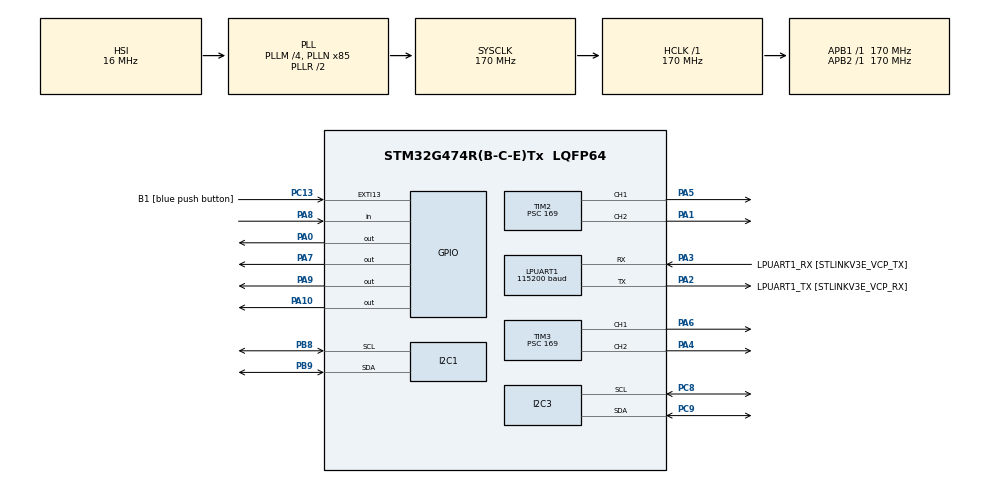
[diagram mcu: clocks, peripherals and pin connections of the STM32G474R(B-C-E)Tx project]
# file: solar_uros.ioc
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Dma.I2C1_RX.4.Direction=DMA_PERIPH_TO_MEMORY
Dma.I2C1_RX.4.EventEnable=DISABLE
Dma.I2C1_RX.4.Instance=DMA1_Channel5
Dma.I2C1_RX.4.MemDataAlignment=DMA_MDATAALIGN_BYTE
Dma.I2C1_RX.4.MemInc=DMA_MINC_ENABLE
Dma.I2C1_RX.4.Mode=DMA_NORMAL
Dma.I2C1_RX.4.PeriphDataAlignment=DMA_PDATAALIGN_BYTE
Dma.I2C1_RX.4.PeriphInc=DMA_PINC_DISABLE
Dma.I2C1_RX.4.Polarity=HAL_DMAMUX_REQ_GEN_RISING
Dma.I2C1_RX.4.Priority=DMA_PRIORITY_LOW
Dma.I2C1_RX.4.RequestNumber=1
Dma.I2C1_RX.4.SignalID=NONE
Dma.I2C1_RX.4.SyncEnable=DISABLE
Dma.I2C1_RX.4.SyncPolarity=HAL_DMAMUX_SYNC_NO_EVENT
Dma.I2C1_RX.4.SyncRequestNumber=1
Dma.I2C1_RX.4.SyncSignalID=NONE
Dma.I2C1_TX.5.Direction=DMA_MEMORY_TO_PERIPH
Dma.I2C1_TX.5.EventEnable=DISABLE
Dma.I2C1_TX.5.Instance=DMA1_Channel6
Dma.I2C1_TX.5.MemDataAlignment=DMA_MDATAALIGN_BYTE
Dma.I2C1_TX.5.MemInc=DMA_MINC_ENABLE
Dma.I2C1_TX.5.Mode=DMA_NORMAL
Dma.I2C1_TX.5.PeriphDataAlignment=DMA_PDATAALIGN_BYTE
Dma.I2C1_TX.5.PeriphInc=DMA_PINC_DISABLE
Dma.I2C1_TX.5.Polarity=HAL_DMAMUX_REQ_GEN_RISING
Dma.I2C1_TX.5.Priority=DMA_PRIORITY_LOW
Dma.I2C1_TX.5.RequestNumber=1
Dma.I2C1_TX.5.SignalID=NONE
Dma.I2C1_TX.5.SyncEnable=DISABLE
Dma.I2C1_TX.5.SyncPolarity=HAL_DMAMUX_SYNC_NO_EVENT
Dma.I2C1_TX.5.SyncRequestNumber=1
Dma.I2C1_TX.5.SyncSignalID=NONE
Dma.I2C3_RX.2.Direction=DMA_PERIPH_TO_MEMORY
Dma.I2C3_RX.2.EventEnable=DISABLE
Dma.I2C3_RX.2.Instance=DMA1_Channel3
Dma.I2C3_RX.2.MemDataAlignment=DMA_MDATAALIGN_BYTE
Dma.I2C3_RX.2.MemInc=DMA_MINC_ENABLE
Dma.I2C3_RX.2.Mode=DMA_NORMAL
Dma.I2C3_RX.2.PeriphDataAlignment=DMA_PDATAALIGN_BYTE
Dma.I2C3_RX.2.PeriphInc=DMA_PINC_DISABLE
Dma.I2C3_RX.2.Polarity=HAL_DMAMUX_REQ_GEN_RISING
Dma.I2C3_RX.2.Priority=DMA_PRIORITY_LOW
Dma.I2C3_RX.2.RequestNumber=1
Dma.I2C3_RX.2.SignalID=NONE
Dma.I2C3_RX.2.SyncEnable=DISABLE
Dma.I2C3_RX.2.SyncPolarity=HAL_DMAMUX_SYNC_NO_EVENT
Dma.I2C3_RX.2.SyncRequestNumber=1
Dma.I2C3_RX.2.SyncSignalID=NONE
Dma.I2C3_TX.3.Direction=DMA_MEMORY_TO_PERIPH
Dma.I2C3_TX.3.EventEnable=DISABLE
Dma.I2C3_TX.3.Instance=DMA1_Channel4
Dma.I2C3_TX.3.MemDataAlignment=DMA_MDATAALIGN_BYTE
Dma.I2C3_TX.3.MemInc=DMA_MINC_ENABLE
Dma.I2C3_TX.3.Mode=DMA_NORMAL
Dma.I2C3_TX.3.PeriphDataAlignment=DMA_PDATAALIGN_BYTE
Dma.I2C3_TX.3.PeriphInc=DMA_PINC_DISABLE
Dma.I2C3_TX.3.Polarity=HAL_DMAMUX_REQ_GEN_RISING
Dma.I2C3_TX.3.Priority=DMA_PRIORITY_LOW
Dma.I2C3_TX.3.RequestNumber=1
Dma.I2C3_TX.3.SignalID=NONE
Dma.I2C3_TX.3.SyncEnable=DISABLE
Dma.I2C3_TX.3.SyncPolarity=HAL_DMAMUX_SYNC_NO_EVENT
Dma.I2C3_TX.3.SyncRequestNumber=1
Dma.I2C3_TX.3.SyncSignalID=NONE
Dma.LPUART1_RX.1.Direction=DMA_PERIPH_TO_MEMORY
Dma.LPUART1_RX.1.EventEnable=DISABLE
Dma.LPUART1_RX.1.Instance=DMA1_Channel2
Dma.LPUART1_RX.1.MemDataAlignment=DMA_MDATAALIGN_BYTE
Dma.LPUART1_RX.1.MemInc=DMA_MINC_ENABLE
Dma.LPUART1_RX.1.Mode=DMA_CIRCULAR
Dma.LPUART1_RX.1.PeriphDataAlignment=DMA_PDATAALIGN_BYTE
Dma.LPUART1_RX.1.PeriphInc=DMA_PINC_DISABLE
Dma.LPUART1_RX.1.Polarity=HAL_DMAMUX_REQ_GEN_RISING
Dma.LPUART1_RX.1.Priority=DMA_PRIORITY_VERY_HIGH
Dma.LPUART1_RX.1.RequestNumber=1
Dma.LPUART1_RX.1.SignalID=NONE
Dma.LPUART1_RX.1.SyncEnable=DISABLE
Dma.LPUART1_RX.1.SyncPolarity=HAL_DMAMUX_SYNC_NO_EVENT
Dma.LPUART1_RX.1.SyncRequestNumber=1
Dma.LPUART1_RX.1.SyncSignalID=NONE
Dma.LPUART1_TX.0.Direction=DMA_MEMORY_TO_PERIPH
Dma.LPUART1_TX.0.EventEnable=DISABLE
Dma.LPUART1_TX.0.Instance=DMA1_Channel1
Dma.LPUART1_TX.0.MemDataAlignment=DMA_MDATAALIGN_BYTE
Dma.LPUART1_TX.0.MemInc=DMA_MINC_ENABLE
Dma.LPUART1_TX.0.Mode=DMA_NORMAL
Dma.LPUART1_TX.0.PeriphDataAlignment=DMA_PDATAALIGN_BYTE
Dma.LPUART1_TX.0.PeriphInc=DMA_PINC_DISABLE
Dma.LPUART1_TX.0.Polarity=HAL_DMAMUX_REQ_GEN_RISING
Dma.LPUART1_TX.0.Priority=DMA_PRIORITY_VERY_HIGH
Dma.LPUART1_TX.0.RequestNumber=1
Dma.LPUART1_TX.0.SignalID=NONE
Dma.LPUART1_TX.0.SyncEnable=DISABLE
Dma.LPUART1_TX.0.SyncPolarity=HAL_DMAMUX_SYNC_NO_EVENT
Dma.LPUART1_TX.0.SyncRequestNumber=1
Dma.LPUART1_TX.0.SyncSignalID=NONE
Dma.Request0=LPUART1_TX
Dma.Request1=LPUART1_RX
Dma.Request2=I2C3_RX
Dma.Request3=I2C3_TX
Dma.Request4=I2C1_RX
Dma.Request5=I2C1_TX
FREERTOS.Tasks01=defaultTask,24,3000,StartDefaultTask,Default,NULL,Static,defaultTaskBuffer,defaultTaskControlBlock
FREERTOS.configENABLE_FPU=1
I2C1.Timing=0x40B285C2
I2C3.Timing=0x40B285C2
LPUART1.BaudRate=115200
Mcu.Family=STM32G4
Mcu.Name=STM32G474R(B-C-E)Tx
Mcu.Package=LQFP64
NVIC.DMA1_Channel1_IRQn=true\:5\:0\:false\:false\:true\:true\:false\:true\:true
NVIC.DMA1_Channel2_IRQn=true\:5\:0\:false\:false\:true\:true\:false\:true\:true
NVIC.DMA1_Channel3_IRQn=true\:5\:0\:false\:false\:true\:true\:false\:true\:true
NVIC.DMA1_Channel4_IRQn=true\:5\:0\:false\:false\:true\:true\:false\:true\:true
NVIC.DMA1_Channel5_IRQn=true\:5\:0\:false\:false\:true\:true\:false\:true\:true
NVIC.DMA1_Channel6_IRQn=true\:5\:0\:false\:false\:true\:true\:false\:true\:true
NVIC.EXTI15_10_IRQn=true\:5\:0\:false\:false\:true\:true\:true\:true\:true
NVIC.I2C1_ER_IRQn=true\:5\:0\:false\:false\:true\:true\:true\:true\:true
NVIC.I2C1_EV_IRQn=true\:5\:0\:false\:false\:true\:true\:true\:true\:true
NVIC.I2C3_ER_IRQn=true\:5\:0\:false\:false\:true\:true\:true\:true\:true
NVIC.I2C3_EV_IRQn=true\:5\:0\:false\:false\:true\:true\:true\:true\:true
NVIC.LPUART1_IRQn=true\:5\:0\:false\:false\:true\:true\:true\:true\:true
NVIC.PriorityGroup=NVIC_PRIORITYGROUP_4
NVIC.TIM1_UP_TIM16_IRQn=true\:15\:0\:false\:false\:true\:false\:false\:true\:true
NVIC.TimeBase=TIM1_UP_TIM16_IRQn
NVIC.TimeBaseIP=TIM1
PA0.Signal=GPIO_Output
PA1.Signal=S_TIM2_CH2
PA10.Signal=GPIO_Output
PA13.GPIO_Label=T_SWDIO
PA13.Signal=SYS_JTMS-SWDIO
PA14.GPIO_Label=T_SWCLK
PA14.Signal=SYS_JTCK-SWCLK
PA2.GPIO_Label=LPUART1_TX [STLINKV3E_VCP_RX]
PA2.Mode=Asynchronous
PA2.Signal=LPUART1_TX
PA3.GPIO_Label=LPUART1_RX [STLINKV3E_VCP_TX]
PA3.Mode=Asynchronous
PA3.Signal=LPUART1_RX
PA4.Signal=S_TIM3_CH2
PA5.Signal=S_TIM2_CH1
PA6.Signal=S_TIM3_CH1
PA7.Signal=GPIO_Output
PA8.Signal=GPIO_Input
PA9.Signal=GPIO_Output
PB3.GPIO_Label=T_SWO
PB3.Signal=SYS_JTDO-SWO
PB8-BOOT0.Mode=I2C
PB8-BOOT0.Signal=I2C1_SCL
PB9.Mode=I2C
PB9.Signal=I2C1_SDA
PC13.GPIO_Label=B1 [blue push button]
PC13.Signal=GPXTI13
PC14-OSC32_IN.GPIO_Label=RCC_OSC32_IN
PC14-OSC32_IN.Signal=RCC_OSC32_IN
PC15-OSC32_OUT.GPIO_Label=RCC_OSC32_OUT
PC15-OSC32_OUT.Signal=RCC_OSC32_OUT
PC8.Mode=I2C
PC8.Signal=I2C3_SCL
PC9.Mode=I2C
PC9.Signal=I2C3_SDA
PF0-OSC_IN.GPIO_Label=RCC_OSC_IN
PF0-OSC_IN.Signal=RCC_OSC_IN
PF1-OSC_OUT.GPIO_Label=RCC_OSC_OUT
PF1-OSC_OUT.Signal=RCC_OSC_OUT
ProjectManager.HeapSize=0x200
ProjectManager.StackSize=0x400
ProjectManager.TargetToolchain=STM32CubeIDE
RCC.ADC12Freq_Value=170000000
RCC.ADC345Freq_Value=170000000
RCC.AHBFreq_Value=170000000
RCC.APB1Freq_Value=170000000
RCC.APB1TimFreq_Value=170000000
RCC.APB2Freq_Value=170000000
RCC.APB2TimFreq_Value=170000000
RCC.CortexFreq_Value=170000000
RCC.EXTERNAL_CLOCK_VALUE=12288000
RCC.HCLKFreq_Value=170000000
RCC.HSE_VALUE=24000000
RCC.HSI48_VALUE=48000000
RCC.HSI_VALUE=16000000
RCC.LSE_VALUE=32768
RCC.PLLM=RCC_PLLM_DIV4
RCC.PLLN=85
RCC.RTCClockSelection=RCC_RTCCLKSOURCE_LSE
RCC.SYSCLKFreq_VALUE=170000000
RCC.SYSCLKSource=RCC_SYSCLKSOURCE_PLLCLK
RCC.USBFreq_Value=170000000
RCC.VCOOutputFreq_Value=340000000
SH.S_TIM2_CH1.0=TIM2_CH1,PWM Generation1 CH1
SH.S_TIM2_CH2.0=TIM2_CH2,PWM Generation2 CH2
SH.S_TIM3_CH1.0=TIM3_CH1,PWM Generation1 CH1
SH.S_TIM3_CH2.0=TIM3_CH2,PWM Generation2 CH2
TIM2.Channel-PWM\ Generation1\ CH1=TIM_CHANNEL_1
TIM2.Channel-PWM\ Generation2\ CH2=TIM_CHANNEL_2
TIM2.PeriodNoDither=999
TIM2.Prescaler=169
TIM3.Channel-PWM\ Generation1\ CH1=TIM_CHANNEL_1
TIM3.Channel-PWM\ Generation2\ CH2=TIM_CHANNEL_2
TIM3.PeriodNoDither=999
TIM3.Prescaler=169
VP_FREERTOS_VS_CMSIS_V2.Mode=CMSIS_V2
VP_SYS_VS_DBSignals.Mode=DisableDeadBatterySignals
VP_SYS_VS_tim1.Mode=TIM1
VP_TIM2_VS_ClockSourceINT.Mode=Internal
VP_TIM3_VS_ClockSourceINT.Mode=Internal
board=NUCLEO-G474RE

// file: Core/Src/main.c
/* USER CODE BEGIN Header */
/**
  ******************************************************************************
  * @file           : main.c
  * @brief          : Main program body
  ******************************************************************************
  * @attention
  *
  * Copyright (c) 2025 STMicroelectronics.
  * All rights reserved.
  *
  * This software is licensed under terms that can be found in the LICENSE file
  * in the root directory of this software component.
  * If no LICENSE file comes with this software, it is provided AS-IS.
  *
  ******************************************************************************
  */
/* USER CODE END Header */
#include "main.h"
#include "cmsis_os.h"

/* USER CODE BEGIN Includes */
#include <rcl/rcl.h>
#include <rcl/error_handling.h>
#include <rclc/rclc.h>
#include <rclc/executor.h>
#include <uxr/client/transport.h>
#include <rmw_microxrcedds_c/config.h>
#include <rmw_microros/rmw_microros.h>

#include "PWM.h"
#include <std_msgs/msg/int32.h>
#include <std_msgs/msg/float32.h>
#include <stdlib.h>
/* USER CODE END Includes */

typedef StaticTask_t osStaticThreadDef_t;

/* USER CODE BEGIN PD */
#define EEPROM_ADDR 0x40
#define EEPROM_ADDR2 0x48
/* USER CODE END PD */

I2C_HandleTypeDef hi2c1;
I2C_HandleTypeDef hi2c3;
DMA_HandleTypeDef hdma_i2c1_rx;
DMA_HandleTypeDef hdma_i2c1_tx;
DMA_HandleTypeDef hdma_i2c3_rx;
DMA_HandleTypeDef hdma_i2c3_tx;

UART_HandleTypeDef hlpuart1;
DMA_HandleTypeDef hdma_lpuart1_tx;
DMA_HandleTypeDef hdma_lpuart1_rx;

TIM_HandleTypeDef htim2;
TIM_HandleTypeDef htim3;

/* Definitions for defaultTask */
osThreadId_t defaultTaskHandle;
uint32_t defaultTaskBuffer[ 3000 ];
osStaticThreadDef_t defaultTaskControlBlock;
const osThreadAttr_t defaultTask_attributes = {
  .name = "defaultTask",
  .stack_mem = &defaultTaskBuffer[0],
  .stack_size = sizeof(defaultTaskBuffer),
  .cb_mem = &defaultTaskControlBlock,
  .cb_size = sizeof(defaultTaskControlBlock),
  .priority = (osPriority_t) osPriorityNormal,
};
/* USER CODE BEGIN PV */
rcl_subscription_t subscriber_servo;
std_msgs__msg__Int32 msg_servo;

rcl_subscription_t subscriber_Brush;
std_msgs__msg__Int32 msg_Brush;

rcl_subscription_t subscriber_Water;
std_msgs__msg__Int32 msg_Water;

rcl_subscription_t subscriber_encoder1;
std_msgs__msg__Int32 msg_encoder1;

rcl_subscription_t subscriber_encoder2;
std_msgs__msg__Int32 msg_encoder2;

rcl_publisher_t publisher;
std_msgs__msg__Int32 msg_pub;

rcl_publisher_t omron_publisher;
std_msgs__msg__Int32 msg_Omron;

rcl_publisher_t encoder1_publisher;
//std_msgs__msg__Int32 msg_encoder1;

rcl_publisher_t encoder2_publisher;
//std_msgs__msg__Int32 msg_encoder2;

rcl_timer_t timer;
rclc_support_t support;
rcl_allocator_t allocator;
rcl_node_t node;
rcl_init_options_t init_options;
rclc_executor_t executor;

int Brush;
int Water;
int Servo_switch = 0;
int BrushUD_mode = 0;
int prev_Servo = 0;
uint64_t a = 0;

PWM WaterPump;
PWM BrushMTR;
PWM BrushUD;
PWM BrushUD2;
int Omron;

static uint32_t timestamp_servo  = 0;
static uint32_t timestamp_servo2  = 0;
static uint32_t timestamp_servo3  = 0;
static uint32_t timestamp_servo4  = 0;
static uint32_t timestamp_omron  = 0;

static uint64_t timestamp = 0;
uint8_t eepromExampleWriteFlag = 0;
uint8_t eepromExampleReadFlag = 0;
uint8_t eepromDataReadBack[2];
char check[17] = {};
uint64_t encoder = 0;

uint8_t eepromExampleWriteFlag2 = 0;
uint8_t eepromExampleReadFlag2 = 0;
uint8_t eepromDataReadBack2[2];
char check2[17] = {};
uint64_t encoder2 = 0;

uint64_t encoder1_order = 0;
uint64_t encoder2_order = 0;

/* USER CODE END PV */

void SystemClock_Config(void);
static void MX_GPIO_Init(void);
static void MX_DMA_Init(void);
static void MX_LPUART1_UART_Init(void);
static void MX_TIM2_Init(void);
static void MX_TIM3_Init(void);
static void MX_I2C1_Init(void);
static void MX_I2C3_Init(void);
void StartDefaultTask(void *argument);

/* USER CODE BEGIN PFP */
void BrusheMotorControlled();
void WaterPumpControlled();
void BrushUpDownMode_manual();
void BrushUpDownMode_auto();
void Omron_check();
void encoder_check();

void timer_callback(rcl_timer_t * timer, int64_t last_call_time);
void subscription_callback_servo(const void * msgin);
void subscription_callback_Brush(const void * msgin);
void subscription_callback_Water(const void * msgin);
/* USER CODE END PFP */

int main(void)
{

  /* MCU Configuration--------------------------------------------------------*/

  /* Reset of all peripherals, Initializes the Flash interface and the Systick. */
  HAL_Init();

  /* Configure the system clock */
  SystemClock_Config();

  /* Initialize all configured peripherals */
  MX_GPIO_Init();
  MX_DMA_Init();
  MX_LPUART1_UART_Init();
  MX_TIM2_Init();
  MX_TIM3_Init();
  MX_I2C1_Init();
  MX_I2C3_Init();
  /* USER CODE BEGIN 2 */
  PWM_init(&BrushMTR, &htim2, TIM_CHANNEL_1);
  PWM_init(&WaterPump, &htim2, TIM_CHANNEL_2);
  PWM_init(&BrushUD2, &htim3, TIM_CHANNEL_1);
  PWM_init(&BrushUD, &htim3, TIM_CHANNEL_2);

  HAL_TIM_PWM_Start(&htim2, TIM_CHANNEL_1);
  HAL_TIM_PWM_Start(&htim2, TIM_CHANNEL_2);
  HAL_TIM_PWM_Start(&htim3, TIM_CHANNEL_1);
  HAL_TIM_PWM_Start(&htim3, TIM_CHANNEL_2);
  /* USER CODE END 2 */

  /* Init scheduler */
  osKernelInitialize();

  /* Create the thread(s) */
  /* creation of defaultTask */
  defaultTaskHandle = osThreadNew(StartDefaultTask, NULL, &defaultTask_attributes);

  /* Start scheduler */
  osKernelStart();

  /* We should never get here as control is now taken by the scheduler */

  /* Infinite loop */
  while (1)
  {

  }
}

void SystemClock_Config(void)
{
  RCC_OscInitTypeDef RCC_OscInitStruct = {0};
  RCC_ClkInitTypeDef RCC_ClkInitStruct = {0};

  /** Configure the main internal regulator output voltage
  */
  HAL_PWREx_ControlVoltageScaling(PWR_REGULATOR_VOLTAGE_SCALE1_BOOST);

  /** Initializes the RCC Oscillators according to the specified parameters
  * in the RCC_OscInitTypeDef structure.
  */
  RCC_OscInitStruct.OscillatorType = RCC_OSCILLATORTYPE_HSI;
  RCC_OscInitStruct.HSIState = RCC_HSI_ON;
  RCC_OscInitStruct.HSICalibrationValue = RCC_HSICALIBRATION_DEFAULT;
  RCC_OscInitStruct.PLL.PLLState = RCC_PLL_ON;
  RCC_OscInitStruct.PLL.PLLSource = RCC_PLLSOURCE_HSI;
  RCC_OscInitStruct.PLL.PLLM = RCC_PLLM_DIV4;
  RCC_OscInitStruct.PLL.PLLN = 85;
  RCC_OscInitStruct.PLL.PLLP = RCC_PLLP_DIV2;
  RCC_OscInitStruct.PLL.PLLQ = RCC_PLLQ_DIV2;
  RCC_OscInitStruct.PLL.PLLR = RCC_PLLR_DIV2;
  if (HAL_RCC_OscConfig(&RCC_OscInitStruct) != HAL_OK)
  {
    Error_Handler();
  }

  /** Initializes the CPU, AHB and APB buses clocks
  */
  RCC_ClkInitStruct.ClockType = RCC_CLOCKTYPE_HCLK|RCC_CLOCKTYPE_SYSCLK
                              |RCC_CLOCKTYPE_PCLK1|RCC_CLOCKTYPE_PCLK2;
  RCC_ClkInitStruct.SYSCLKSource = RCC_SYSCLKSOURCE_PLLCLK;
  RCC_ClkInitStruct.AHBCLKDivider = RCC_SYSCLK_DIV1;
  RCC_ClkInitStruct.APB1CLKDivider = RCC_HCLK_DIV1;
  RCC_ClkInitStruct.APB2CLKDivider = RCC_HCLK_DIV1;

  if (HAL_RCC_ClockConfig(&RCC_ClkInitStruct, FLASH_LATENCY_4) != HAL_OK)
  {
    Error_Handler();
  }
}

static void MX_I2C1_Init(void)
{

  hi2c1.Instance = I2C1;
  hi2c1.Init.Timing = 0x40B285C2;
  hi2c1.Init.OwnAddress1 = 0;
  hi2c1.Init.AddressingMode = I2C_ADDRESSINGMODE_7BIT;
  hi2c1.Init.DualAddressMode = I2C_DUALADDRESS_DISABLE;
  hi2c1.Init.OwnAddress2 = 0;
  hi2c1.Init.OwnAddress2Masks = I2C_OA2_NOMASK;
  hi2c1.Init.GeneralCallMode = I2C_GENERALCALL_DISABLE;
  hi2c1.Init.NoStretchMode = I2C_NOSTRETCH_DISABLE;
  if (HAL_I2C_Init(&hi2c1) != HAL_OK)
  {
    Error_Handler();
  }

  /** Configure Analogue filter
  */
  if (HAL_I2CEx_ConfigAnalogFilter(&hi2c1, I2C_ANALOGFILTER_ENABLE) != HAL_OK)
  {
    Error_Handler();
  }

  /** Configure Digital filter
  */
  if (HAL_I2CEx_ConfigDigitalFilter(&hi2c1, 0) != HAL_OK)
  {
    Error_Handler();
  }

}

static void MX_I2C3_Init(void)
{

  hi2c3.Instance = I2C3;
  hi2c3.Init.Timing = 0x40B285C2;
  hi2c3.Init.OwnAddress1 = 0;
  hi2c3.Init.AddressingMode = I2C_ADDRESSINGMODE_7BIT;
  hi2c3.Init.DualAddressMode = I2C_DUALADDRESS_DISABLE;
  hi2c3.Init.OwnAddress2 = 0;
  hi2c3.Init.OwnAddress2Masks = I2C_OA2_NOMASK;
  hi2c3.Init.GeneralCallMode = I2C_GENERALCALL_DISABLE;
  hi2c3.Init.NoStretchMode = I2C_NOSTRETCH_DISABLE;
  if (HAL_I2C_Init(&hi2c3) != HAL_OK)
  {
    Error_Handler();
  }

  /** Configure Analogue filter
  */
  if (HAL_I2CEx_ConfigAnalogFilter(&hi2c3, I2C_ANALOGFILTER_ENABLE) != HAL_OK)
  {
    Error_Handler();
  }

  /** Configure Digital filter
  */
  if (HAL_I2CEx_ConfigDigitalFilter(&hi2c3, 0) != HAL_OK)
  {
    Error_Handler();
  }

}

static void MX_LPUART1_UART_Init(void)
{

  hlpuart1.Instance = LPUART1;
  hlpuart1.Init.BaudRate = 115200;
  hlpuart1.Init.WordLength = UART_WORDLENGTH_8B;
  hlpuart1.Init.StopBits = UART_STOPBITS_1;
  hlpuart1.Init.Parity = UART_PARITY_NONE;
  hlpuart1.Init.Mode = UART_MODE_TX_RX;
  hlpuart1.Init.HwFlowCtl = UART_HWCONTROL_NONE;
  hlpuart1.Init.OneBitSampling = UART_ONE_BIT_SAMPLE_DISABLE;
  hlpuart1.Init.ClockPrescaler = UART_PRESCALER_DIV1;
  hlpuart1.AdvancedInit.AdvFeatureInit = UART_ADVFEATURE_NO_INIT;
  if (HAL_UART_Init(&hlpuart1) != HAL_OK)
  {
    Error_Handler();
  }
  if (HAL_UARTEx_SetTxFifoThreshold(&hlpuart1, UART_TXFIFO_THRESHOLD_1_8) != HAL_OK)
  {
    Error_Handler();
  }
  if (HAL_UARTEx_SetRxFifoThreshold(&hlpuart1, UART_RXFIFO_THRESHOLD_1_8) != HAL_OK)
  {
    Error_Handler();
  }
  if (HAL_UARTEx_DisableFifoMode(&hlpuart1) != HAL_OK)
  {
    Error_Handler();
  }

}

static void MX_TIM2_Init(void)
{

  TIM_ClockConfigTypeDef sClockSourceConfig = {0};
  TIM_MasterConfigTypeDef sMasterConfig = {0};
  TIM_OC_InitTypeDef sConfigOC = {0};

  htim2.Instance = TIM2;
  htim2.Init.Prescaler = 169;
  htim2.Init.CounterMode = TIM_COUNTERMODE_UP;
  htim2.Init.Period = 999;
  htim2.Init.ClockDivision = TIM_CLOCKDIVISION_DIV1;
  htim2.Init.AutoReloadPreload = TIM_AUTORELOAD_PRELOAD_DISABLE;
  if (HAL_TIM_Base_Init(&htim2) != HAL_OK)
  {
    Error_Handler();
  }
  sClockSourceConfig.ClockSource = TIM_CLOCKSOURCE_INTERNAL;
  if (HAL_TIM_ConfigClockSource(&htim2, &sClockSourceConfig) != HAL_OK)
  {
    Error_Handler();
  }
  if (HAL_TIM_PWM_Init(&htim2) != HAL_OK)
  {
    Error_Handler();
  }
  sMasterConfig.MasterOutputTrigger = TIM_TRGO_RESET;
  sMasterConfig.MasterSlaveMode = TIM_MASTERSLAVEMODE_DISABLE;
  if (HAL_TIMEx_MasterConfigSynchronization(&htim2, &sMasterConfig) != HAL_OK)
  {
    Error_Handler();
  }
  sConfigOC.OCMode = TIM_OCMODE_PWM1;
  sConfigOC.Pulse = 0;
  sConfigOC.OCPolarity = TIM_OCPOLARITY_HIGH;
  sConfigOC.OCFastMode = TIM_OCFAST_DISABLE;
  if (HAL_TIM_PWM_ConfigChannel(&htim2, &sConfigOC, TIM_CHANNEL_1) != HAL_OK)
  {
    Error_Handler();
  }
  if (HAL_TIM_PWM_ConfigChannel(&htim2, &sConfigOC, TIM_CHANNEL_2) != HAL_OK)
  {
    Error_Handler();
  }
  HAL_TIM_MspPostInit(&htim2);

}

static void MX_TIM3_Init(void)
{

  TIM_ClockConfigTypeDef sClockSourceConfig = {0};
  TIM_MasterConfigTypeDef sMasterConfig = {0};
  TIM_OC_InitTypeDef sConfigOC = {0};

  htim3.Instance = TIM3;
  htim3.Init.Prescaler = 169;
  htim3.Init.CounterMode = TIM_COUNTERMODE_UP;
  htim3.Init.Period = 999;
  htim3.Init.ClockDivision = TIM_CLOCKDIVISION_DIV1;
  htim3.Init.AutoReloadPreload = TIM_AUTORELOAD_PRELOAD_DISABLE;
  if (HAL_TIM_Base_Init(&htim3) != HAL_OK)
  {
    Error_Handler();
  }
  sClockSourceConfig.ClockSource = TIM_CLOCKSOURCE_INTERNAL;
  if (HAL_TIM_ConfigClockSource(&htim3, &sClockSourceConfig) != HAL_OK)
  {
    Error_Handler();
  }
  if (HAL_TIM_PWM_Init(&htim3) != HAL_OK)
  {
    Error_Handler();
  }
  sMasterConfig.MasterOutputTrigger = TIM_TRGO_RESET;
  sMasterConfig.MasterSlaveMode = TIM_MASTERSLAVEMODE_DISABLE;
  if (HAL_TIMEx_MasterConfigSynchronization(&htim3, &sMasterConfig) != HAL_OK)
  {
    Error_Handler();
  }
  sConfigOC.OCMode = TIM_OCMODE_PWM1;
  sConfigOC.Pulse = 0;
  sConfigOC.OCPolarity = TIM_OCPOLARITY_HIGH;
  sConfigOC.OCFastMode = TIM_OCFAST_DISABLE;
  if (HAL_TIM_PWM_ConfigChannel(&htim3, &sConfigOC, TIM_CHANNEL_1) != HAL_OK)
  {
    Error_Handler();
  }
  if (HAL_TIM_PWM_ConfigChannel(&htim3, &sConfigOC, TIM_CHANNEL_2) != HAL_OK)
  {
    Error_Handler();
  }
  HAL_TIM_MspPostInit(&htim3);

}

static void MX_DMA_Init(void)
{

  /* DMA controller clock enable */
  __HAL_RCC_DMAMUX1_CLK_ENABLE();
  __HAL_RCC_DMA1_CLK_ENABLE();

  /* DMA interrupt init */
  /* DMA1_Channel1_IRQn interrupt configuration */
  HAL_NVIC_SetPriority(DMA1_Channel1_IRQn, 5, 0);
  HAL_NVIC_EnableIRQ(DMA1_Channel1_IRQn);
  /* DMA1_Channel2_IRQn interrupt configuration */
  HAL_NVIC_SetPriority(DMA1_Channel2_IRQn, 5, 0);
  HAL_NVIC_EnableIRQ(DMA1_Channel2_IRQn);
  /* DMA1_Channel3_IRQn interrupt configuration */
  HAL_NVIC_SetPriority(DMA1_Channel3_IRQn, 5, 0);
  HAL_NVIC_EnableIRQ(DMA1_Channel3_IRQn);
  /* DMA1_Channel4_IRQn interrupt configuration */
  HAL_NVIC_SetPriority(DMA1_Channel4_IRQn, 5, 0);
  HAL_NVIC_EnableIRQ(DMA1_Channel4_IRQn);
  /* DMA1_Channel5_IRQn interrupt configuration */
  HAL_NVIC_SetPriority(DMA1_Channel5_IRQn, 5, 0);
  HAL_NVIC_EnableIRQ(DMA1_Channel5_IRQn);
  /* DMA1_Channel6_IRQn interrupt configuration */
  HAL_NVIC_SetPriority(DMA1_Channel6_IRQn, 5, 0);
  HAL_NVIC_EnableIRQ(DMA1_Channel6_IRQn);

}

static void MX_GPIO_Init(void)
{
  GPIO_InitTypeDef GPIO_InitStruct = {0};

  /* GPIO Ports Clock Enable */
  __HAL_RCC_GPIOC_CLK_ENABLE();
  __HAL_RCC_GPIOF_CLK_ENABLE();
  __HAL_RCC_GPIOA_CLK_ENABLE();
  __HAL_RCC_GPIOB_CLK_ENABLE();

  /*Configure GPIO pin Output Level */
  HAL_GPIO_WritePin(GPIOA, GPIO_PIN_0|GPIO_PIN_7|GPIO_PIN_9|GPIO_PIN_10, GPIO_PIN_RESET);

  /*Configure GPIO pin : B1_Pin */
  GPIO_InitStruct.Pin = B1_Pin;
  GPIO_InitStruct.Mode = GPIO_MODE_IT_RISING;
  GPIO_InitStruct.Pull = GPIO_NOPULL;
  HAL_GPIO_Init(B1_GPIO_Port, &GPIO_InitStruct);

  /*Configure GPIO pins : PA0 PA7 PA9 PA10 */
  GPIO_InitStruct.Pin = GPIO_PIN_0|GPIO_PIN_7|GPIO_PIN_9|GPIO_PIN_10;
  GPIO_InitStruct.Mode = GPIO_MODE_OUTPUT_PP;
  GPIO_InitStruct.Pull = GPIO_NOPULL;
  GPIO_InitStruct.Speed = GPIO_SPEED_FREQ_LOW;
  HAL_GPIO_Init(GPIOA, &GPIO_InitStruct);

  /*Configure GPIO pin : PA8 */
  GPIO_InitStruct.Pin = GPIO_PIN_8;
  GPIO_InitStruct.Mode = GPIO_MODE_INPUT;
  GPIO_InitStruct.Pull = GPIO_NOPULL;
  HAL_GPIO_Init(GPIOA, &GPIO_InitStruct);

  /* EXTI interrupt init*/
  HAL_NVIC_SetPriority(EXTI15_10_IRQn, 5, 0);
  HAL_NVIC_EnableIRQ(EXTI15_10_IRQn);

}

/* USER CODE BEGIN 4 */
bool cubemx_transport_open(struct uxrCustomTransport * transport);
bool cubemx_transport_close(struct uxrCustomTransport * transport);
size_t cubemx_transport_write(struct uxrCustomTransport* transport, const uint8_t * buf, size_t len, uint8_t * err);
size_t cubemx_transport_read(struct uxrCustomTransport* transport, uint8_t* buf, size_t len, int timeout, uint8_t* err);

void * microros_allocate(size_t size, void * state);
void microros_deallocate(void * pointer, void * state);
void * microros_reallocate(void * pointer, size_t size, void * state);
void * microros_zero_allocate(size_t number_of_elements, size_t size_of_element, void * state);

void timer_callback(rcl_timer_t * timer, int64_t last_call_time)
{
	if (timer != NULL) {
		BrusheMotorControlled();
		BrushUpDownMode_manual();
		BrushUpDownMode_auto();
		Omron_check();
		WaterPumpControlled();

		eepromExampleReadFlag = 1;
		eepromExampleReadFlag2 = 1;
	  EEPROMReadExample(eepromDataReadBack);
	  EEPROMReadExample2(eepromDataReadBack2);
		timestamp = HAL_GetTick();
	  for (int i = 0; i < 16; i++) {
		  // Select byte: 0 for i=0..7, 1 for i=8..15
		  uint8_t byteIndex = i / 8;
		  uint8_t bitIndex = 7 - (i % 8);  // MSB first

		  check[i] = ((eepromDataReadBack[byteIndex] >> bitIndex) & 0x01) ? '1' : '0';
		  check2[i] = ((eepromDataReadBack2[byteIndex] >> bitIndex) & 0x01) ? '1' : '0';
	  }
	  check[16] = '\0';  // Null-terminate
	  check2[16] = '\0';
	  encoder = ((check[11] - 48) * 1000 ) + ((check[12] - 48) * 800 ) + ((check[13] - 48) * 400 )
		+ ((check[14] - 48) * 200 ) + ((check[15] - 48) * 100 ) + ((check[0] - 48) * 80 ) +
		((check[1] - 48) * 40 ) + ((check[2] - 48) * 20 ) + ((check[3] - 48) * 10 ) +
		((check[4] - 48) * 8 ) + ((check[5] - 48) * 4 ) + ((check[6] - 48) * 2 )
	 + ((check[7] - 48) * 1 ) ;
	  encoder2 = ((check2[11] - 48) * 1000 ) + ((check2[12] - 48) * 800 ) + ((check2[13] - 48) * 400 )
				+ ((check2[14] - 48) * 200 ) + ((check2[15] - 48) * 100 ) + ((check2[0] - 48) * 80 ) +
				((check2[1] - 48) * 40 ) + ((check2[2] - 48) * 20 ) + ((check2[3] - 48) * 10 ) +
				((check2[4] - 48) * 8 ) + ((check2[5] - 48) * 4 ) + ((check2[6] - 48) * 2 )
			 + ((check2[7] - 48) * 1 ) ;

	  //		((check[11] - 48) * 1000 )
	  //		((check[12] - 48) * 800 )
	  //		((check[13] - 48) * 400 )
	  //		((check[14] - 48) * 200 )
	  //		((check[15] - 48) * 100 )
	  //		((check[0] - 48) * 80 )
	  //      ((check[1] - 48) * 40 )
	  //		((check[2] - 48) * 20 )
	  //		((check[3] - 48) * 10 )
	  //	    ((check[4] - 48) * 8 )
	  //	    ((check[5] - 48) * 4 )
	  //	    ((check[6] - 48) * 2 )
	  //	    ((check[7] - 48) * 1 )

	  encoder_check();

	}
	rcl_ret_t ret = rcl_publish(&publisher, &msg_pub, NULL);
	if (ret != RCL_RET_OK)
	{
		NVIC_SystemReset();
	}
}
void BrushUpDownMode_auto()
{
	if (encoder - encoder1_order > 0) // threshold implement
		{
			if (HAL_GetTick() < timestamp_servo + 200)
			{
				HAL_GPIO_WritePin(GPIOA, GPIO_PIN_10, 1); // 1 == up , -1 == down
				PWM_write_duty(&BrushUD, 998, 50);
				HAL_GPIO_WritePin(GPIOA, GPIO_PIN_7, 0);
				PWM_write_duty(&BrushUD2, 998, 50);

			}
			else{

				timestamp_servo = HAL_GetTick();
			}
		}
		else if (encoder - encoder1_order < 0)
		{
	//		static uint32_t timestamp_servo2  = 0;

			if (HAL_GetTick() < timestamp_servo2 + 200)
			{
				HAL_GPIO_WritePin(GPIOA, GPIO_PIN_10, 0);
				PWM_write_duty(&BrushUD, 998, 50);
				HAL_GPIO_WritePin(GPIOA, GPIO_PIN_7, 1);
				PWM_write_duty(&BrushUD2, 998, 50);

			}
			else{

				timestamp_servo2 = HAL_GetTick();
			}
		}
		else if (encoder2 - encoder2_order > 0)
		{
			if (HAL_GetTick() < timestamp_servo + 200)
			{
				HAL_GPIO_WritePin(GPIOA, GPIO_PIN_10, 1); // 1 == up , -1 == down
				PWM_write_duty(&BrushUD, 998, 50);
			}
			else{
				timestamp_servo = HAL_GetTick();
			}
		}
		else if (encoder2 - encoder2_order < 0)
		{
	//		static uint32_t timestamp_servo2  = 0;

			if (HAL_GetTick() < timestamp_servo2 + 200)
			{
				HAL_GPIO_WritePin(GPIOA, GPIO_PIN_10, 0);
				PWM_write_duty(&BrushUD, 998, 50);
			}
			else{

				timestamp_servo2 = HAL_GetTick();
			}
		}
		else{
			timestamp_servo = HAL_GetTick();
			timestamp_servo2 = HAL_GetTick();
			timestamp_servo3 = HAL_GetTick();
			timestamp_servo4 = HAL_GetTick();
			PWM_write_duty(&BrushUD2, 998, 0);
			PWM_write_duty(&BrushUD, 998, 0);
		}

}
void BrusheMotorControlled()
{
	if (Brush)
	{
		HAL_GPIO_WritePin(GPIOA, GPIO_PIN_9, RESET);
		PWM_write_duty(&BrushMTR, 2000, 100);
	}
	else
	{
		PWM_write_duty(&BrushMTR, 2000, 0);
	}
}
void WaterPumpControlled()
{
	if (Water)
	{
		HAL_GPIO_WritePin(GPIOA, GPIO_PIN_0, RESET);
		PWM_write_duty(&WaterPump, 2000, 100);
	}
	else
	{
		PWM_write_duty(&WaterPump, 2000, 0);
	}
}
void BrushUpDownMode_manual()
{
	// PA10 DIR1 , PA4 PWM1
	// PA7 DIR2 ,PA6 PWM2

	if (Servo_switch == 1)
	{
		if (HAL_GetTick() < timestamp_servo + 200)
		{
			HAL_GPIO_WritePin(GPIOA, GPIO_PIN_10, 1); // 1 == up , -1 == down
			PWM_write_duty(&BrushUD, 998, 50);
			HAL_GPIO_WritePin(GPIOA, GPIO_PIN_7, 0);
			PWM_write_duty(&BrushUD2, 998, 50);

		}
		else{
			Servo_switch = 0;
			timestamp_servo = HAL_GetTick();
		}
	}
	else if (Servo_switch == -1)
	{
//		static uint32_t timestamp_servo2  = 0;

		if (HAL_GetTick() < timestamp_servo2 + 200)
		{
			HAL_GPIO_WritePin(GPIOA, GPIO_PIN_10, 0);
			PWM_write_duty(&BrushUD, 998, 50);
			HAL_GPIO_WritePin(GPIOA, GPIO_PIN_7, 1);
			PWM_write_duty(&BrushUD2, 998, 50);

		}
		else{
			Servo_switch = 0;
			timestamp_servo2 = HAL_GetTick();
		}
	}
	else if (Servo_switch == 2)
	{
		if (HAL_GetTick() < timestamp_servo + 200)
		{
			HAL_GPIO_WritePin(GPIOA, GPIO_PIN_10, 1); // 1 == up , -1 == down
			PWM_write_duty(&BrushUD, 998, 50);
		}
		else{
			Servo_switch = 0;
			timestamp_servo = HAL_GetTick();
		}
	}
	else if (Servo_switch == -2)
	{
//		static uint32_t timestamp_servo2  = 0;

		if (HAL_GetTick() < timestamp_servo2 + 200)
		{
			HAL_GPIO_WritePin(GPIOA, GPIO_PIN_10, 0);
			PWM_write_duty(&BrushUD, 998, 50);
		}
		else{
			Servo_switch = 0;
			timestamp_servo2 = HAL_GetTick();
		}
	}
	else if (Servo_switch == 3)
	{
		if (HAL_GetTick() < timestamp_servo + 200)
		{
			HAL_GPIO_WritePin(GPIOA, GPIO_PIN_7, 0); // 1 == up , -1 == down
			PWM_write_duty(&BrushUD2, 998, 50);
		}
		else{
			Servo_switch = 0;
			timestamp_servo = HAL_GetTick();
		}
	}
	else if (Servo_switch == -3)
	{
//		static uint32_t timestamp_servo2  = 0;

		if (HAL_GetTick() < timestamp_servo2 + 200)
		{
			HAL_GPIO_WritePin(GPIOA, GPIO_PIN_7, 1);
			PWM_write_duty(&BrushUD2, 998, 50);
		}
		else{
			Servo_switch = 0;
			timestamp_servo2 = HAL_GetTick();
		}
	}
	else{
		timestamp_servo = HAL_GetTick();
		timestamp_servo2 = HAL_GetTick();
		timestamp_servo3 = HAL_GetTick();
		timestamp_servo4 = HAL_GetTick();
		PWM_write_duty(&BrushUD2, 998, 0);
		PWM_write_duty(&BrushUD, 998, 0);
	}

}

void Omron_check()
{
	if (HAL_GPIO_ReadPin(GPIOA, GPIO_PIN_8) == 1)
	{
		if (HAL_GetTick() > timestamp_omron + 2000){
			std_msgs__msg__Int32 msg;

			// Set message value
			msg.data = 1;
			Omron = 1;
			// Publish message
			rcl_publish(&omron_publisher, &msg, NULL);
			timestamp_omron = HAL_GetTick();
		}
	}
	else
	{
		timestamp_omron  = HAL_GetTick();
		std_msgs__msg__Int32 msg;

		// Set message value
		msg.data = 0;
		Omron = 0;
		// Publish message
		rcl_publish(&omron_publisher, &msg, NULL);
	}
}

void encoder_check()
{
			std_msgs__msg__Int32 msg1;
			std_msgs__msg__Int32 msg2;

			// Set message value
			msg1.data = encoder;
			msg2.data = encoder2;
			// Publish message
			rcl_publish(&encoder1_publisher, &msg1, NULL);
			rcl_publish(&encoder2_publisher, &msg2, NULL);
}

void subscription_callback_servo(const void * msgin)
{
	const std_msgs__msg__Int32 * msg = (const std_msgs__msg__Int32 *)msgin;
	Servo_switch = msg->data;
	// 0 = do nothing
	// 1 and -1 , 1 == 1 up , -1 == 1 down
	// 2 and -2
}

void subscription_callback_Brush(const void * msgin)
{
	const std_msgs__msg__Int32 * msg = (const std_msgs__msg__Int32 *)msgin;
	Brush = msg->data;
}

void subscription_callback_Water(const void * msgin)
{
	const std_msgs__msg__Int32 * msg = (const std_msgs__msg__Int32 *)msgin;
	Water = msg->data;
}
void subscription_callback_encoder1(const void * msgin)
{
	const std_msgs__msg__Int32 * msg = (const std_msgs__msg__Int32 *)msgin;
	encoder1_order = msg->data;
}

void subscription_callback_encoder2(const void * msgin)
{
	const std_msgs__msg__Int32 * msg = (const std_msgs__msg__Int32 *)msgin;
	encoder2_order = msg->data;
}

void EEPROMReadExample(uint8_t *Rdata) {
	if (eepromExampleReadFlag && hi2c1.State == HAL_I2C_STATE_READY) {
//		HAL_I2C_Mem_Read_IT(&hi2c1, 0x40, 0x12, I2C_MEMADD_SIZE_8BIT, Rdata, 2);
		HAL_I2C_Mem_Read_IT(&hi2c1, EEPROM_ADDR, 0x12, I2C_MEMADD_SIZE_8BIT, Rdata, 2);
//		HAL_I2C_Mem_Read_IT(&hi2c1, EEPROM_ADDR, 0x12, I2C_MEMADD_SIZE_16BIT, Rdata, 2);
		eepromExampleReadFlag = 0;

	}
}
void EEPROMReadExample2(uint8_t *Rdata) {
	if (eepromExampleReadFlag2 && hi2c3.State == HAL_I2C_STATE_READY) {
//		HAL_I2C_Mem_Read_IT(&hi2c1, 0x40, 0x12, I2C_MEMADD_SIZE_8BIT, Rdata, 2);
		HAL_I2C_Mem_Read_IT(&hi2c3, EEPROM_ADDR2, 0x12, I2C_MEMADD_SIZE_8BIT, Rdata, 2);
//		HAL_I2C_Mem_Read_IT(&hi2c1, EEPROM_ADDR, 0x12, I2C_MEMADD_SIZE_16BIT, Rdata, 2);
		eepromExampleReadFlag2 = 0;

	}
}
/* USER CODE END 4 */

void StartDefaultTask(void *argument)
{
  /* USER CODE BEGIN 5 */
		rmw_uros_set_custom_transport(
		true,
		(void *) &hlpuart1,
		cubemx_transport_open,
		cubemx_transport_close,
		cubemx_transport_write,
		cubemx_transport_read);

		rcl_allocator_t freeRTOS_allocator = rcutils_get_zero_initialized_allocator();
		freeRTOS_allocator.allocate = microros_allocate;
		freeRTOS_allocator.deallocate = microros_deallocate;
		freeRTOS_allocator.reallocate = microros_reallocate;
		freeRTOS_allocator.zero_allocate = microros_zero_allocate;

		if (!rcutils_set_default_allocator(&freeRTOS_allocator)) {
		  printf("Error on default allocators (line %d)\n", __LINE__);
		}

		// micro-ROS app
		allocator = rcl_get_default_allocator();

		init_options = rcl_get_zero_initialized_init_options();
		rcl_init_options_init(&init_options, allocator);
		rcl_init_options_set_domain_id(&init_options, 1);

		// Initialize rclc support object with custom options
		rclc_support_init_with_options(&support, 0, NULL, &init_options, &allocator);

		// Create node
		rclc_node_init_default(&node, "cubemx_node", "", &support);

		// Create timer
		rclc_timer_init_default(&timer, &support, RCL_MS_TO_NS(10), timer_callback);

		// Create subscriber
		rclc_subscription_init_default(
			&subscriber_servo,
			&node,
			ROSIDL_GET_MSG_TYPE_SUPPORT(std_msgs, msg, Int32),
			"cubemx_publisher_servo");

		rclc_subscription_init_default(
			&subscriber_Brush,
			&node,
			ROSIDL_GET_MSG_TYPE_SUPPORT(std_msgs, msg, Int32),
			"cubemx_publisher_Brush");

		rclc_subscription_init_default(
			&subscriber_Water,
			&node,
			ROSIDL_GET_MSG_TYPE_SUPPORT(std_msgs, msg, Int32),
			"cubemx_publisher_Water");

		// create publisher
		rclc_publisher_init_default(
			&publisher,
			&node,
			ROSIDL_GET_MSG_TYPE_SUPPORT(std_msgs, msg, Int32),
			"cubemx_publisher");

		rclc_publisher_init_default(
			&omron_publisher,
			&node,
			ROSIDL_GET_MSG_TYPE_SUPPORT(std_msgs, msg, Int32),
			"cubemx_publisher_Omron");

		rclc_publisher_init_default(
			&encoder1_publisher,
			&node,
			ROSIDL_GET_MSG_TYPE_SUPPORT(std_msgs, msg, Int32),
			"cubemx_publisher_encoder1");

		rclc_publisher_init_default(
			&encoder2_publisher,
			&node,
			ROSIDL_GET_MSG_TYPE_SUPPORT(std_msgs, msg, Int32),
			"cubemx_publisher_encoder2");

		msg_pub.data = 0;

		// Initialize the executor
		executor = rclc_executor_get_zero_initialized_executor();
		rclc_executor_init(&executor, &support.context, 6, &allocator);
		rclc_executor_add_timer(&executor, &timer);
		rclc_executor_add_subscription(&executor, &subscriber_servo, &msg_servo, subscription_callback_servo, ON_NEW_DATA);
		rclc_executor_add_subscription(&executor, &subscriber_Brush, &msg_Brush, subscription_callback_Brush, ON_NEW_DATA);
		rclc_executor_add_subscription(&executor, &subscriber_Water, &msg_Water, subscription_callback_Water, ON_NEW_DATA);

		rclc_executor_add_subscription(&executor, &subscriber_encoder1, &msg_encoder1, subscription_callback_encoder1, ON_NEW_DATA);
		rclc_executor_add_subscription(&executor, &subscriber_encoder2, &msg_encoder2, subscription_callback_encoder2, ON_NEW_DATA);
		rclc_executor_spin(&executor);

		for(;;)
		{
			osDelay(10);
		}
  /* USER CODE END 5 */
}

void HAL_TIM_PeriodElapsedCallback(TIM_HandleTypeDef *htim)
{
  if (htim->Instance == TIM1) {
    HAL_IncTick();
  }
}

void Error_Handler(void)
{
  __disable_irq();
  while (1)
  {
  }
}
